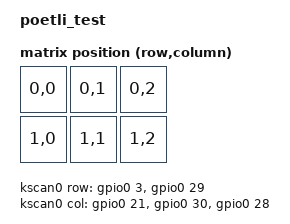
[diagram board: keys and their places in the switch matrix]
/*
 * Copyright (c) 2020 The ZMK Contributors
 *
 * SPDX-License-Identifier: MIT
 */

/dts-v1/;
#include <nordic/nrf52840_qiaa.dtsi>
#include <dt-bindings/led/led.h>
#include <dt-bindings/zmk/matrix_transform.h>

/ {
	model = "poetli_test";
	compatible = "poetli,test";

	chosen {
		zephyr,code-partition = &code_partition;
		zephyr,sram = &sram0;
		zephyr,flash = &flash0;
		zmk,kscan = &kscan0;
		zmk,matrix_transform = &one_2u_transform;
		zmk,battery = &vbatt;
	};
	one_2u_transform:keymap_transform_0 {
		compatible = "zmk,matrix-transform";
		columns = <3>;
		rows = <2>;		
		map = <
		RC(0,0) RC(0,1) RC(0,2) 
		RC(1,0) RC(1,1) RC(1,2) 
		>;

	};

	kscan0: kscan {
		compatible = "zmk,kscan-gpio-matrix";
		label = "KSCAN";

		diode-direction = "row2col";
 		col-gpios
			= <&gpio0 21 (GPIO_ACTIVE_HIGH | GPIO_PULL_DOWN)>
			, <&gpio0 30 (GPIO_ACTIVE_HIGH | GPIO_PULL_DOWN)>
			, <&gpio0 28 (GPIO_ACTIVE_HIGH | GPIO_PULL_DOWN)>
			;
		row-gpios
			= <&gpio0 3 GPIO_ACTIVE_HIGH>
			, <&gpio0 29 GPIO_ACTIVE_HIGH>
			;
	};


	vbatt: vbatt {
        compatible = "zmk,battery-voltage-divider";
        io-channels = <&adc 2>;
        output-ohms = <2000000>;
        full-ohms = <(2000000 + 806000)>;
    };


};

&adc {
	status = "okay";
};

&gpiote {
	status = "okay";
};

&gpio0 {
	status = "okay";
};

&gpio1 {
	status = "okay";
};

&usbd {
    status = "okay";
    cdc_acm_uart: cdc_acm_uart {
        compatible = "zephyr,cdc-acm-uart";
    };
};

&flash0 {
	/*
	 * For more information, see:
	 * http://docs.zephyrproject.org/latest/devices/dts/flash_partitions.html
	 */
	partitions {
		compatible = "fixed-partitions";
		#address-cells = <1>;
		#size-cells = <1>;

		sd_partition: partition@0 {
			label = "mbr";
			reg = <0x00000000 0x00001000>;
		};
		code_partition: partition@1000 {
			label = "code_partition";
			reg = <0x00001000 0x000d3000>;
		};

		storage_partition: partition@d4000 {
			label = "storage";
			reg = <0x000d4000 0x00020000>;
		};

		boot_partition: partition@f4000 {
			label = "adafruit_boot";
			reg = <0x000f4000 0x0000c000>;
		};
	};
};
